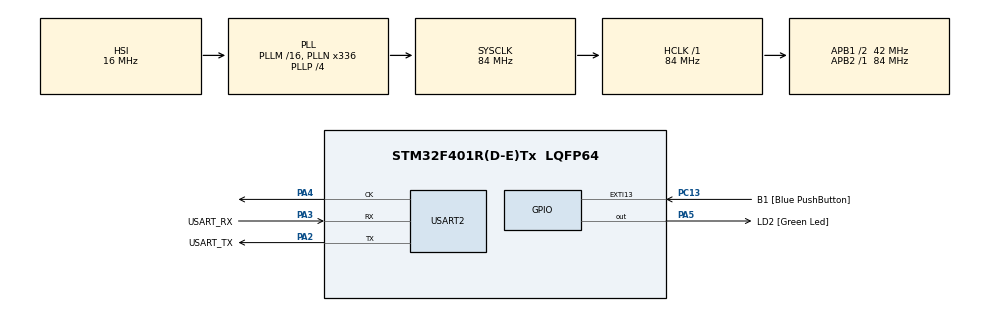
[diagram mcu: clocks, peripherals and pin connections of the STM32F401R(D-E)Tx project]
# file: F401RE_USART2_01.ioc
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Mcu.Family=STM32F4
Mcu.Name=STM32F401R(D-E)Tx
Mcu.Package=LQFP64
NVIC.PriorityGroup=NVIC_PRIORITYGROUP_0
NVIC.USART2_IRQn=true\:0\:0\:false\:false\:true
PA13.GPIO_Label=TMS
PA13.Signal=SYS_JTMS-SWDIO
PA14.GPIO_Label=TCK
PA14.Signal=SYS_JTCK-SWCLK
PA2.GPIO_Label=USART_TX
PA2.GPIO_Mode=GPIO_MODE_AF_PP
PA2.GPIO_PuPd=GPIO_NOPULL
PA2.GPIO_Speed=GPIO_SPEED_FREQ_LOW
PA2.Mode=Synchronous
PA2.Signal=USART2_TX
PA3.GPIO_Label=USART_RX
PA3.GPIO_Mode=GPIO_MODE_AF_PP
PA3.GPIO_PuPd=GPIO_NOPULL
PA3.GPIO_Speed=GPIO_SPEED_FREQ_LOW
PA3.Mode=Synchronous
PA3.Signal=USART2_RX
PA4.Mode=Synchronous
PA4.Signal=USART2_CK
PA5.GPIO_Label=LD2 [Green Led]
PA5.GPIO_Mode=GPIO_MODE_OUTPUT_PP
PA5.GPIO_PuPd=GPIO_NOPULL
PA5.GPIO_Speed=GPIO_SPEED_FREQ_LOW
PA5.Signal=GPIO_Output
PB3.GPIO_Label=SWO
PB3.Signal=SYS_JTDO-SWO
PC13-ANTI_TAMP.GPIO_Label=B1 [Blue PushButton]
PC13-ANTI_TAMP.GPIO_ModeDefaultEXTI=GPIO_MODE_EVT_RISING
PC13-ANTI_TAMP.GPIO_PuPd=GPIO_NOPULL
PC13-ANTI_TAMP.Signal=GPXTI13
PC14-OSC32_IN.Signal=RCC_OSC32_IN
PC15-OSC32_OUT.Signal=RCC_OSC32_OUT
PH0\ -\ OSC_IN.Signal=RCC_OSC_IN
PH1\ -\ OSC_OUT.Signal=RCC_OSC_OUT
ProjectManager.HeapSize=0x200
ProjectManager.StackSize=0x400
ProjectManager.TargetToolchain=MDK-ARM V5
RCC.AHBFreq_Value=84000000
RCC.APB1CLKDivider=RCC_HCLK_DIV2
RCC.APB1Freq_Value=42000000
RCC.APB1TimFreq_Value=84000000
RCC.APB2Freq_Value=84000000
RCC.APB2TimFreq_Value=84000000
RCC.CortexFreq_Value=84000000
RCC.HCLKFreq_Value=84000000
RCC.HSE_VALUE=8000000
RCC.HSI_VALUE=16000000
RCC.LSE_VALUE=32768
RCC.PLLN=336
RCC.PLLP=RCC_PLLP_DIV4
RCC.PLLQ=7
RCC.SYSCLKFreq_VALUE=84000000
RCC.SYSCLKSource=RCC_SYSCLKSOURCE_PLLCLK
RCC.VCOOutputFreq_Value=336000000
USART2.VirtualMode=VM_SYNC
board=NUCLEO-F401RE

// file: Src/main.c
/**
  ******************************************************************************
  * File Name          : main.c
  * Description        : Main program body
  ******************************************************************************
  *
  * COPYRIGHT(c) 2016 STMicroelectronics
  *
  * Redistribution and use in source and binary forms, with or without modification,
  * are permitted provided that the following conditions are met:
  *   1. Redistributions of source code must retain the above copyright notice,
  *      this list of conditions and the following disclaimer.
  *   2. Redistributions in binary form must reproduce the above copyright notice,
  *      this list of conditions and the following disclaimer in the documentation
  *      and/or other materials provided with the distribution.
  *   3. Neither the name of STMicroelectronics nor the names of its contributors
  *      may be used to endorse or promote products derived from this software
  *      without specific prior written permission.
  *
  * THIS SOFTWARE IS PROVIDED BY THE COPYRIGHT HOLDERS AND CONTRIBUTORS "AS IS"
  * AND ANY EXPRESS OR IMPLIED WARRANTIES, INCLUDING, BUT NOT LIMITED TO, THE
  * IMPLIED WARRANTIES OF MERCHANTABILITY AND FITNESS FOR A PARTICULAR PURPOSE ARE
  * DISCLAIMED. IN NO EVENT SHALL THE COPYRIGHT HOLDER OR CONTRIBUTORS BE LIABLE
  * FOR ANY DIRECT, INDIRECT, INCIDENTAL, SPECIAL, EXEMPLARY, OR CONSEQUENTIAL
  * DAMAGES (INCLUDING, BUT NOT LIMITED TO, PROCUREMENT OF SUBSTITUTE GOODS OR
  * SERVICES; LOSS OF USE, DATA, OR PROFITS; OR BUSINESS INTERRUPTION) HOWEVER
  * CAUSED AND ON ANY THEORY OF LIABILITY, WHETHER IN CONTRACT, STRICT LIABILITY,
  * OR TORT (INCLUDING NEGLIGENCE OR OTHERWISE) ARISING IN ANY WAY OUT OF THE USE
  * OF THIS SOFTWARE, EVEN IF ADVISED OF THE POSSIBILITY OF SUCH DAMAGE.
  *
  ******************************************************************************
  */
#include "stm32f4xx_hal.h"
/* USER CODE BEGIN Includes */
#include <stdio.h>
#include <string.h>
/* USER CODE END Includes */

USART_HandleTypeDef husart2;

/* USER CODE BEGIN PV */
/* Private variables ---------------------------------------------------------*/
#define	RING_BUFFER_SIZE		16

char RingBuff[RING_BUFFER_SIZE];

int ReadPoint = 0;			// 読み出しポイント
int WritePoint = 0;			// 書き込みポイント
int DataSize = 0;				// 格納されたデータ・サイズ
/* USER CODE END PV */

void SystemClock_Config(void);
void Error_Handler(void);
static void MX_GPIO_Init(void);
static void MX_USART2_Init(void);

/* USER CODE BEGIN PFP */
/* Private function prototypes -----------------------------------------------*/
void PushData(uint8_t dat);		// 1Byteの格納
uint8_t PopData(void);				// 1Byteの取り出し
char sio_getc(void);					// UARTから1文字取得
void sio_putc(char);					// UARTに1文字を出力
void sio_puts(char *);				// UARTに文字列を出力
/* USER CODE END PFP */

/* USER CODE BEGIN 0 */

void PushData(uint8_t dat)
{
	// これ以上格納できない場合はそのまま戻る
	if(DataSize >= RING_BUFFER_SIZE){
		return;
	}
	RingBuff[WritePoint] = dat;	// 書き込みポインタにデータを格納
	DataSize++;						// 保存サイズを1Byte増やす
	WritePoint++;
	// 終端に来たら、先頭に戻る
	if(WritePoint >= RING_BUFFER_SIZE){
		WritePoint = 0;
	}
}

uint8_t PopData(void)
{
	uint8_t ch;
	// データがない場合
	if(DataSize == 0){
		return 0;
	}
	ch = RingBuff[ReadPoint];	// 読み出しデータの取り出し
	DataSize--;
	ReadPoint++;
	// 終端に来たら先頭に戻る
	if(ReadPoint >= RING_BUFFER_SIZE){
		ReadPoint = 0;
	}
	return ch;
}

//=========================================================
//	受信割り込み
//=========================================================
uint8_t RxData;	// 受信データ格納領域

void HAL_USART_RxCpltCallback(USART_HandleTypeDef *huart)
{
	PushData(RxData);
	HAL_USART_Receive_IT(huart, &RxData, 1); //次の受信をスタート
}

char sio_getc()
{
	return PopData();
}

void sio_putc(char ch)
{
	HAL_USART_Transmit(&husart2, (uint8_t *)&ch, 1, 1000);
}

void sio_puts(char *str)
{
	HAL_USART_Transmit(&husart2, (uint8_t *)str, strlen(str), 1000);
}

/* USER CODE END 0 */

int main(void)
{

  /* USER CODE BEGIN 1 */
	int ch;

  /* USER CODE END 1 */

  /* MCU Configuration----------------------------------------------------------*/

  /* Reset of all peripherals, Initializes the Flash interface and the Systick. */
  HAL_Init();

  /* Configure the system clock */
  SystemClock_Config();

  /* Initialize all configured peripherals */
  MX_GPIO_Init();
  MX_USART2_Init();

  /* USER CODE BEGIN 2 */
	HAL_USART_Receive_IT(&husart2, &RxData, 1);	// 受信スタート

	sio_puts("Serial_rb Test\n");
	sio_puts("Input key->");

  /* USER CODE END 2 */

  /* Infinite loop */
  /* USER CODE BEGIN WHILE */
  while (1)
  {
	  ch = sio_getc();
	  if(ch > 0){
		  sio_putc(ch);
	  }
  /* USER CODE END WHILE */

  }

}

/** System Clock Configuration
*/
void SystemClock_Config(void)
{

  RCC_OscInitTypeDef RCC_OscInitStruct;
  RCC_ClkInitTypeDef RCC_ClkInitStruct;

  __HAL_RCC_PWR_CLK_ENABLE();

  __HAL_PWR_VOLTAGESCALING_CONFIG(PWR_REGULATOR_VOLTAGE_SCALE2);

  RCC_OscInitStruct.OscillatorType = RCC_OSCILLATORTYPE_HSI;
  RCC_OscInitStruct.HSIState = RCC_HSI_ON;
  RCC_OscInitStruct.HSICalibrationValue = 16;
  RCC_OscInitStruct.PLL.PLLState = RCC_PLL_ON;
  RCC_OscInitStruct.PLL.PLLSource = RCC_PLLSOURCE_HSI;
  RCC_OscInitStruct.PLL.PLLM = 16;
  RCC_OscInitStruct.PLL.PLLN = 336;
  RCC_OscInitStruct.PLL.PLLP = RCC_PLLP_DIV4;
  RCC_OscInitStruct.PLL.PLLQ = 7;
  if (HAL_RCC_OscConfig(&RCC_OscInitStruct) != HAL_OK)
  {
    Error_Handler();
  }

  RCC_ClkInitStruct.ClockType = RCC_CLOCKTYPE_HCLK|RCC_CLOCKTYPE_SYSCLK
                              |RCC_CLOCKTYPE_PCLK1|RCC_CLOCKTYPE_PCLK2;
  RCC_ClkInitStruct.SYSCLKSource = RCC_SYSCLKSOURCE_PLLCLK;
  RCC_ClkInitStruct.AHBCLKDivider = RCC_SYSCLK_DIV1;
  RCC_ClkInitStruct.APB1CLKDivider = RCC_HCLK_DIV2;
  RCC_ClkInitStruct.APB2CLKDivider = RCC_HCLK_DIV1;
  if (HAL_RCC_ClockConfig(&RCC_ClkInitStruct, FLASH_LATENCY_2) != HAL_OK)
  {
    Error_Handler();
  }

  HAL_SYSTICK_Config(HAL_RCC_GetHCLKFreq()/1000);

  HAL_SYSTICK_CLKSourceConfig(SYSTICK_CLKSOURCE_HCLK);

  /* SysTick_IRQn interrupt configuration */
  HAL_NVIC_SetPriority(SysTick_IRQn, 0, 0);
}

/* USART2 init function */
static void MX_USART2_Init(void)
{

  husart2.Instance = USART2;
  husart2.Init.BaudRate = 115200;
  husart2.Init.WordLength = USART_WORDLENGTH_8B;
  husart2.Init.StopBits = USART_STOPBITS_1;
  husart2.Init.Parity = USART_PARITY_NONE;
  husart2.Init.Mode = USART_MODE_TX_RX;
  husart2.Init.CLKPolarity = USART_POLARITY_LOW;
  husart2.Init.CLKPhase = USART_PHASE_1EDGE;
  husart2.Init.CLKLastBit = USART_LASTBIT_DISABLE;
  if (HAL_USART_Init(&husart2) != HAL_OK)
  {
    Error_Handler();
  }

}

/** Configure pins as
        * Analog
        * Input
        * Output
        * EVENT_OUT
        * EXTI
*/
static void MX_GPIO_Init(void)
{

  GPIO_InitTypeDef GPIO_InitStruct;

  /* GPIO Ports Clock Enable */
  __HAL_RCC_GPIOC_CLK_ENABLE();
  __HAL_RCC_GPIOH_CLK_ENABLE();
  __HAL_RCC_GPIOA_CLK_ENABLE();
  __HAL_RCC_GPIOB_CLK_ENABLE();

  /*Configure GPIO pin : B1_Pin */
  GPIO_InitStruct.Pin = B1_Pin;
  GPIO_InitStruct.Mode = GPIO_MODE_EVT_RISING;
  GPIO_InitStruct.Pull = GPIO_NOPULL;
  HAL_GPIO_Init(B1_GPIO_Port, &GPIO_InitStruct);

  /*Configure GPIO pin : LD2_Pin */
  GPIO_InitStruct.Pin = LD2_Pin;
  GPIO_InitStruct.Mode = GPIO_MODE_OUTPUT_PP;
  GPIO_InitStruct.Pull = GPIO_NOPULL;
  GPIO_InitStruct.Speed = GPIO_SPEED_FREQ_LOW;
  HAL_GPIO_Init(LD2_GPIO_Port, &GPIO_InitStruct);

  /*Configure GPIO pin Output Level */
  HAL_GPIO_WritePin(LD2_GPIO_Port, LD2_Pin, GPIO_PIN_RESET);

}

void Error_Handler(void)
{
  while(1)
  {
  }
}

/************************ (C) COPYRIGHT STMicroelectronics *****END OF FILE****/
